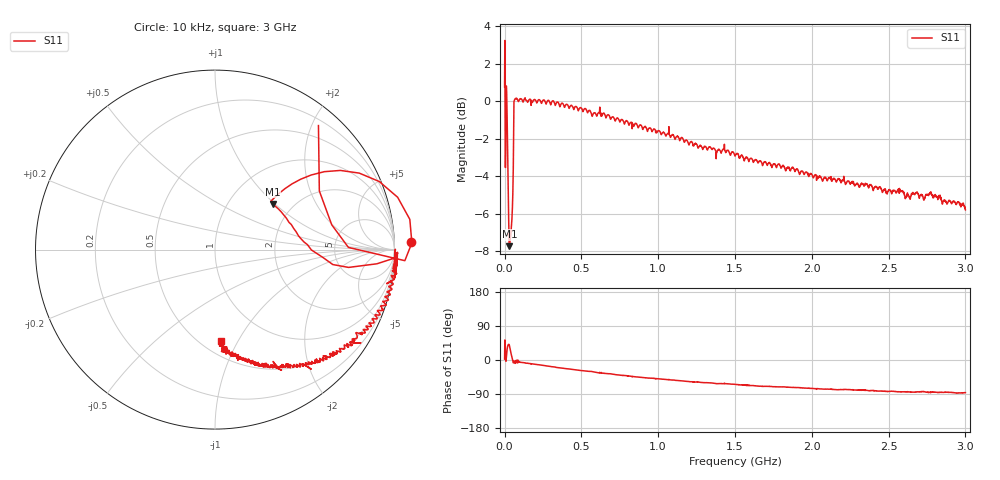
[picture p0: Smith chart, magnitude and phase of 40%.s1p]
# HZ S RI R 50
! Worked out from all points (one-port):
!   2020 points, 10 kHz to 3 GHz, reference 50 ohm
!   lowest |S11| = -7.7 dB at 31.21 MHz (marker M1), VSWR 2.39, Z = 79.3 + j48.5 ohm
!   |S11| at or under -10 dB: nowhere
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10000  1.092 0.0444
5953516  0.6504 0.1383
1.635467e7  0.8033 0.4263
1.932643e7  0.6095 0.4342
2.378406e7  0.4291 0.3661
2.675582e7  0.3592 0.3151
3.121346e7  0.3217 0.2544
3.715698e7  0.384 0.1913
4.310049e7  0.4384 0.118
5.350164e7  0.5652 -0.0203
6.39028e7  1.004 -0.068
7.133219e7  1.016 -0.0461
7.578983e7  1.016 -0.0148
2.436942e8  0.9659 -0.2395
3.759374e8  0.9186 -0.3639
6.13678e8  0.7755 -0.5195
7.503789e8  0.6755 -0.5637
8.707351e8  0.6 -0.6014
1.126306e9  0.475 -0.6529
1.37742e9  0.3236 -0.6233
1.500748e9  0.3118 -0.6422
1.671624e9  0.2447 -0.6423
1.875189e9  0.1998 -0.6339
2.071325e9  0.1379 -0.5972
2.251117e9  0.1219 -0.5903
2.625558e9  0.0584 -0.5584
2.771174e9  0.0452 -0.5691
3e9  0.0343 -0.5116
